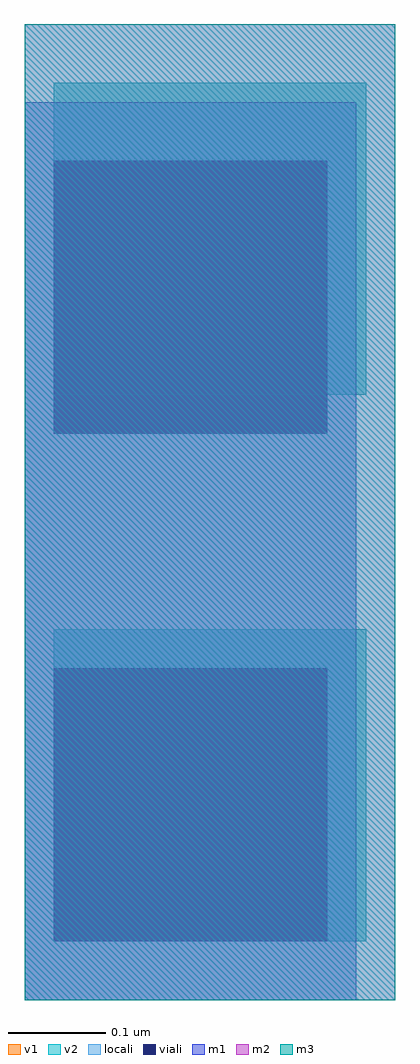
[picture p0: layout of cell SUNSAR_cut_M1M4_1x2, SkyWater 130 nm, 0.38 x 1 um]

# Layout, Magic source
magic
tech sky130A
magscale 1 2
<< locali >>
rect 0 0 68 184
<< viali >>
rect 6 12 62 68
rect 6 116 62 172
<< m1 >>
rect 0 0 68 184
<< v1 >>
rect 6 12 62 68
rect 6 116 62 172
<< m2 >>
rect 0 0 76 200
<< v2 >>
rect 6 12 70 76
rect 6 124 70 188
<< m3 >>
rect 0 0 76 200
<< labels >>
<< end >>
